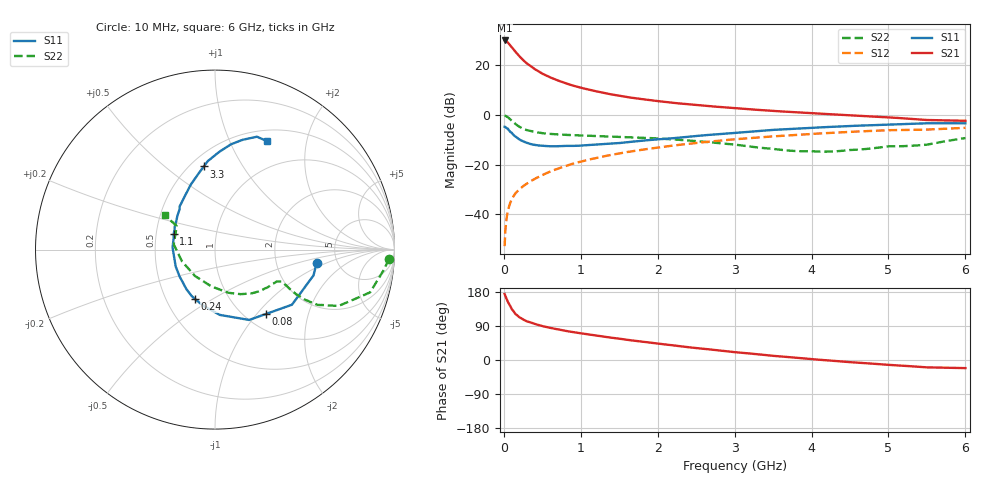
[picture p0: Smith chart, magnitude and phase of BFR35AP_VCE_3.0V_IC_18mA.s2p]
! Infineon Technologies  Discrete & RF Semiconductors
! BFR35AP
! VCE =  3.0 V,  IC =  18 mA
! Common Emitter S-Parameters:  Nov 2015
# GHz  S  MA  R  50
!  f  S11  S21  S12  S22
! GHz  MAG  ANG  MAG  ANG  MAG  ANG  MAG  ANG
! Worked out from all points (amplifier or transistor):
!   210 points, 10 MHz to 6 GHz, reference 50 ohm
!   highest |S21| = 29.8 dB at 10 MHz (marker M1)
!   |S21| within 3 dB of that: start of sweep to 111.1 MHz
!   unconditionally stable (mu >= 1): 399 MHz to 3.312 GHz
!   at 185 MHz: K = 0.72, MSG = 27.2 dB, |S12| = -30.5 dB
!   at 1.52 GHz: K = 1.11, MAG = 9.4 dB, |S12| = -15.4 dB
!   at 6 GHz: K = 0.96, MSG = 1.4 dB, |S12| = -5.3 dB
!   S11 on the Smith chart (normalised r, x): 10 MHz: 3.47, -0.78; 80 MHz: 1.24, -1.12; 240 MHz: 0.69, -0.42; 1.1 GHz: 0.62, +0.11; 3.3 GHz: 0.58, +0.69; 6 GHz: 0.63, +1.38
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0.01  0.5712 -7.6  30.78 174.3  0.0023 88.0  0.97 -3.0
0.02  0.5672 -14.7  30.38 168.6  0.0048 85.5  0.9508 -6.4
0.05  0.5275 -35.6  28.32 153.9  0.0114 75.3  0.8964 -15.4
0.08  0.4581 -51.4  24.73 143.5  0.0164 70.8  0.8105 -20.5
0.1  0.4357 -64.1  22.91 134.9  0.0198 69.1  0.7574 -24.5
0.15  0.3648 -85.8  18.26 121.5  0.0264 65.0  0.6492 -28.3
0.2  0.3199 -101.6  14.91 113.0  0.0315 65.3  0.5738 -29.1
0.24  0.2966 -112.5  12.9 108.2  0.0356 65.3  0.5328 -28.9
0.3  0.272 -125.8  10.62 101.9  0.0415 66.7  0.4897 -28.3
0.4  0.2475 -142.9  8.226 95.1  0.0513 68.0  0.4482 -26.9
0.5  0.2383 -156.8  6.646 89.3  0.0611 69.0  0.4245 -26.0
0.7  0.2327 -175.7  4.862 80.7  0.0823 69.0  0.4017 -26.2
0.8  0.2368 177.1  4.266 76.9  0.0928 68.8  0.3936 -26.6
1.02  0.2406 163.2  3.41 69.8  0.1163 67.6  0.3818 -28.6
1.1  0.2462 159.8  3.185 67.4  0.1248 67.1  0.3781 -29.8
1.6  0.2801 138.9  2.255 53.3  0.1775 62.5  0.3543 -37.3
2.02  0.3206 125.6  1.855 42.9  0.221 57.9  0.3305 -45.6
3.1  0.4417 101.0  1.315 19.0  0.3293 44.2  0.2396 -76.8
3.3  0.4674 97.7  1.248 15.2  0.3476 41.5  0.2198 -85.5
4.1  0.5548 86.1  1.049 0.7  0.4188 31.0  0.1816 -134.0
5.1  0.6386 74.5  0.863 -14.0  0.4897 16.8  0.2318 167.7
6  0.6701 64.6  0.753 -21.4  0.5443 6.5  0.3394 145.6
